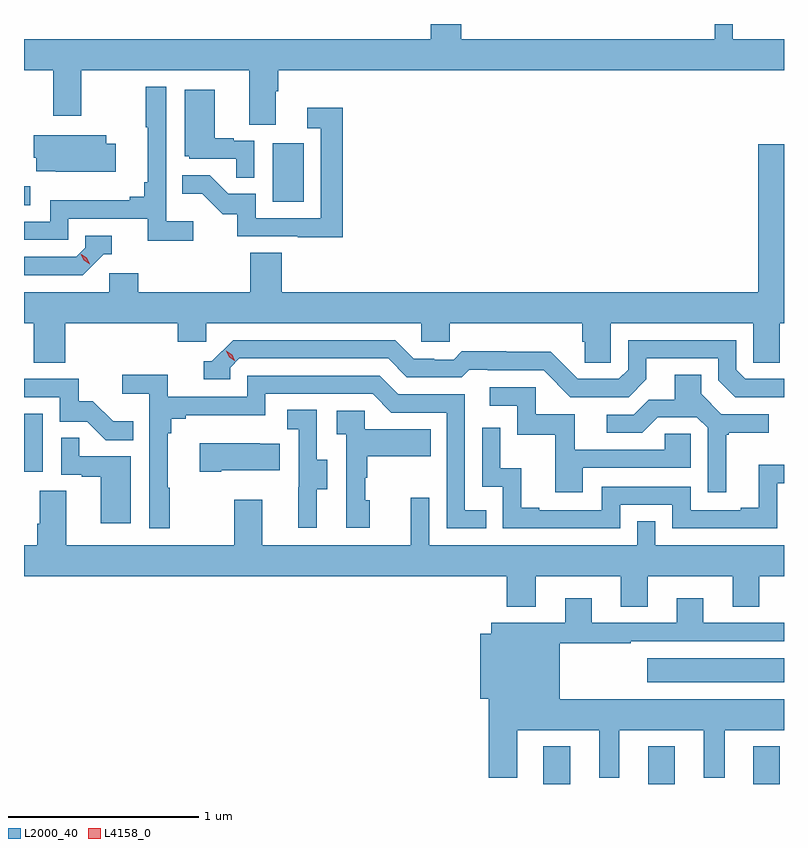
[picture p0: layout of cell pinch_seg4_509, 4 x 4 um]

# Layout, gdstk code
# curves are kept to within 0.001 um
import gdstk
lib = gdstk.Library(unit=1e-6, precision=1e-09)
def R(c, l, rs):  # rectangles x0, y0, x1, y1
    for r in rs: c.add(gdstk.rectangle(r[:2], r[2:], *l))
def A(c, l, x, y, w, h, nx, ny, dx, dy):  # array of equal rectangles
    R(c, l, [(x+i*dx, y+j*dy, x+i*dx+w, y+j*dy+h) for i in range(nx) for j in range(ny)])
def P(c, l, *ps):  # polygons
    for p in ps: c.add(gdstk.Polygon(p, *l))
L2000_40 = (2000, 40)
L4158_0 = (4158, 0)

pinch_seg4_509 = lib.new_cell('pinch_seg4_509')
A(pinch_seg4_509, L2000_40, 987.521, 754.435, 0.14, 0.198, 3, 1, 0.552, 0)
R(pinch_seg4_509, L2000_40, [(988.068,754.97,988.787,755.098), (984.787,756.078,984.886,756.385), (984.787,757.48,984.82,757.581), (986.096,757.5,986.26,757.807)])
P(pinch_seg4_509, L2000_40, [(986.113,758.08),(986.126,758.08),(986.126,758.192),(988.787,758.192),(988.787,758.356),(988.518,758.356),(988.518,758.435),(988.422,758.435),(988.422,758.356),(987.087,758.356),(987.087,758.435),(986.927,758.435),(986.927,758.356),(984.787,758.356),(984.787,758.192),(984.941,758.192),(984.941,757.953),(985.089,757.953),(985.089,758.192),(985.973,758.192),(985.973,757.906),(986.113,757.906)],
  [(985.678,757.396),(985.536,757.396),(985.536,758.104),(985.428,758.104),(985.428,757.891),(985.439,757.891),(985.439,757.603),(985.42,757.603),(985.42,757.526),(985.343,757.526),(985.343,757.507),(984.924,757.507),(984.924,757.395),(984.787,757.395),(984.787,757.299),(985.02,757.299),(985.02,757.41),(985.439,757.41),(985.439,757.294),(985.678,757.294)],
  [(985.998,757.821),(985.892,757.821),(985.892,757.834),(985.792,757.834),(985.792,758.089),(985.634,758.089),(985.634,757.74),(985.656,757.74),(985.656,757.725),(985.903,757.725),(985.903,757.627),(985.998,757.627)],
  [(986.465,757.993),(986.277,757.993),(986.277,757.887),(986.349,757.887),(986.349,757.413),(986.007,757.413),(986.007,757.542),(985.863,757.542),(985.765,757.64),(985.621,757.64),(985.621,757.541),(985.725,757.541),(985.832,757.434),(985.909,757.434),(985.909,757.317),(986.227,757.317),(986.227,757.312),(986.465,757.312)],
  [(985.27,757.806),(985.219,757.806),(985.219,757.849),(984.839,757.849),(984.839,757.731),(984.851,757.731),(984.851,757.659),(984.955,757.659),(984.955,757.658),(985.27,757.658)],
  [(985.004,756.86),(985.595,756.86),(985.595,756.762),(985.746,756.762),(985.746,756.86),(986.877,756.86),(986.877,756.762),(987.027,756.762),(987.027,756.86),(987.725,756.86),(987.725,756.762),(987.739,756.762),(987.739,756.652),(987.876,756.652),(987.876,756.86),(988.626,756.86),(988.626,756.652),(988.765,756.652),(988.765,756.86),(988.787,756.86),(988.787,757.803),(988.652,757.803),(988.652,757.024),(986.144,757.024),(986.144,757.232),(985.979,757.232),(985.979,757.024),(985.388,757.024),(985.388,757.122),(985.236,757.122),(985.236,757.024),(984.787,757.024),(984.787,756.86),(984.839,756.86),(984.839,756.652),(985.004,756.652)],
  [(985.206,757.224),(985.249,757.224),(985.249,757.32),(985.11,757.32),(985.11,757.257),(985.062,757.209),(984.787,757.209),(984.787,757.113),(985.095,757.113)],
  [(988.787,756.567),(988.584,756.567),(988.536,756.615),(988.536,756.771),(987.966,756.771),(987.966,756.615),(987.918,756.567),(987.702,756.567),(987.56,756.709),(987.324,756.709),(987.324,756.712),(987.091,756.712),(987.049,756.669),(986.946,756.669),(986.946,756.672),(986.839,756.672),(986.74,756.771),(985.887,756.771),(985.776,756.66),(985.733,756.66),(985.733,756.564),(985.872,756.564),(985.872,756.627),(985.92,756.675),(986.703,756.675),(986.802,756.576),(987.091,756.576),(987.13,756.615),(987.229,756.615),(987.229,756.612),(987.522,756.612),(987.663,756.471),(987.969,756.471),(988.063,756.565),(988.063,756.675),(988.44,756.675),(988.44,756.561),(988.53,756.471),(988.787,756.47)],
  [(985.555,755.993),(985.543,755.993),(985.543,756.281),(985.562,756.281),(985.562,756.358),(985.639,756.358),(985.639,756.377),(986.058,756.377),(986.058,756.489),(986.622,756.489),(986.721,756.39),(987.012,756.39),(987.012,755.781),(987.221,755.781),(987.221,755.877),(987.108,755.877),(987.108,756.486),(986.758,756.486),(986.659,756.585),(985.962,756.585),(985.962,756.474),(985.544,756.474),(985.544,756.59),(985.305,756.59),(985.305,756.488),(985.446,756.488),(985.446,755.781),(985.555,755.781)],
  [(988.483,756.273),(988.495,756.273),(988.495,756.284),(988.708,756.284),(988.708,756.381),(988.458,756.381),(988.351,756.488),(988.351,756.59),(988.211,756.59),(988.211,756.458),(988.076,756.458),(987.996,756.378),(987.855,756.378),(987.855,756.285),(988.042,756.285),(988.123,756.366),(988.329,756.366),(988.386,756.309),(988.386,755.97),(988.483,755.97)],
  [(985.361,756.343),(985.257,756.343),(985.15,756.45),(985.074,756.45),(985.074,756.567),(984.787,756.567),(984.787,756.471),(984.975,756.471),(984.975,756.342),(985.119,756.342),(985.217,756.244),(985.361,756.244)],
  [(987.727,756.099),(988.296,756.099),(988.296,756.279),(988.159,756.279),(988.159,756.195),(987.685,756.195),(987.685,756.381),(987.48,756.381),(987.48,756.522),(987.237,756.522),(987.237,756.426),(987.384,756.426),(987.384,756.273),(987.583,756.273),(987.583,755.97),(987.727,755.97)],
  [(986.329,755.986),(986.383,755.986),(986.383,756.141),(986.328,756.141),(986.328,756.404),(986.172,756.404),(986.172,756.301),(986.232,756.301),(986.232,755.997),(986.231,755.997),(986.231,755.784),(986.329,755.784)],
  [(986.608,755.928),(986.583,755.928),(986.583,756.047),(986.593,756.047),(986.593,756.161),(986.927,756.161),(986.927,756.301),(986.58,756.301),(986.58,756.399),(986.433,756.399),(986.433,756.275),(986.484,756.275),(986.484,755.784),(986.608,755.784)],
  [(987.924,755.904),(988.2,755.904),(988.2,755.781),(988.752,755.781),(988.752,756.017),(988.787,756.017),(988.787,756.115),(988.655,756.115),(988.655,755.89),(988.559,755.89),(988.559,755.877),(988.296,755.877),(988.296,756),(987.828,756),(987.828,755.877),(987.499,755.877),(987.499,755.89),(987.404,755.89),(987.404,756.098),(987.294,756.098),(987.294,756.31),(987.198,756.31),(987.198,756),(987.306,756),(987.306,755.781),(987.924,755.781)],
  [(985.348,756.159),(985.079,756.159),(985.079,756.257),(984.984,756.257),(984.984,756.063),(985.091,756.063),(985.091,756.051),(985.19,756.051),(985.19,755.808),(985.348,755.808)],
  [(985.825,756.086),(986.132,756.086),(986.132,756.226),(986.027,756.226),(986.027,756.229),(985.713,756.229),(985.713,756.079),(985.825,756.079)],
  [(988.069,755.528),(988.517,755.528),(988.517,755.368),(988.657,755.368),(988.657,755.528),(988.787,755.528),(988.787,755.692),(988.11,755.692),(988.11,755.819),(988.014,755.819),(988.014,755.692),(986.919,755.692),(986.919,755.941),(986.822,755.941),(986.822,755.692),(986.041,755.692),(986.041,755.932),(985.894,755.932),(985.894,755.692),(985.009,755.692),(985.009,755.978),(984.869,755.978),(984.869,755.804),(984.857,755.804),(984.857,755.692),(984.787,755.692),(984.787,755.528),(987.329,755.528),(987.329,755.369),(987.481,755.369),(987.481,755.528),(987.929,755.528),(987.929,755.368),(988.069,755.368)],
  [(987.382,754.718),(987.815,754.718),(987.815,754.467),(987.919,754.467),(987.919,754.718),(988.364,754.718),(988.364,754.467),(988.474,754.467),(988.474,754.718),(988.787,754.718),(988.787,754.882),(987.607,754.882),(987.607,755.175),(987.98,755.175),(987.98,755.187),(988.787,755.187),(988.787,755.283),(988.363,755.283),(988.363,755.413),(988.223,755.413),(988.223,755.283),(987.775,755.283),(987.775,755.413),(987.635,755.413),(987.635,755.284),(987.245,755.284),(987.245,755.227),(987.188,755.227),(987.188,754.883),(987.233,754.883),(987.233,754.467),(987.382,754.467)])
P(pinch_seg4_509, L4158_0, [(985.133,757.171),(985.102,757.191),(985.086,757.224),(985.086,757.224),(985.087,757.224),(985.117,757.204),(985.133,757.171),(985.133,757.171)],
  [(985.897,756.662),(985.867,756.682),(985.851,756.715),(985.851,756.715),(985.852,756.715),(985.882,756.695),(985.897,756.662),(985.897,756.662)])

lib.write_gds('pinch_seg4_509.gds')
